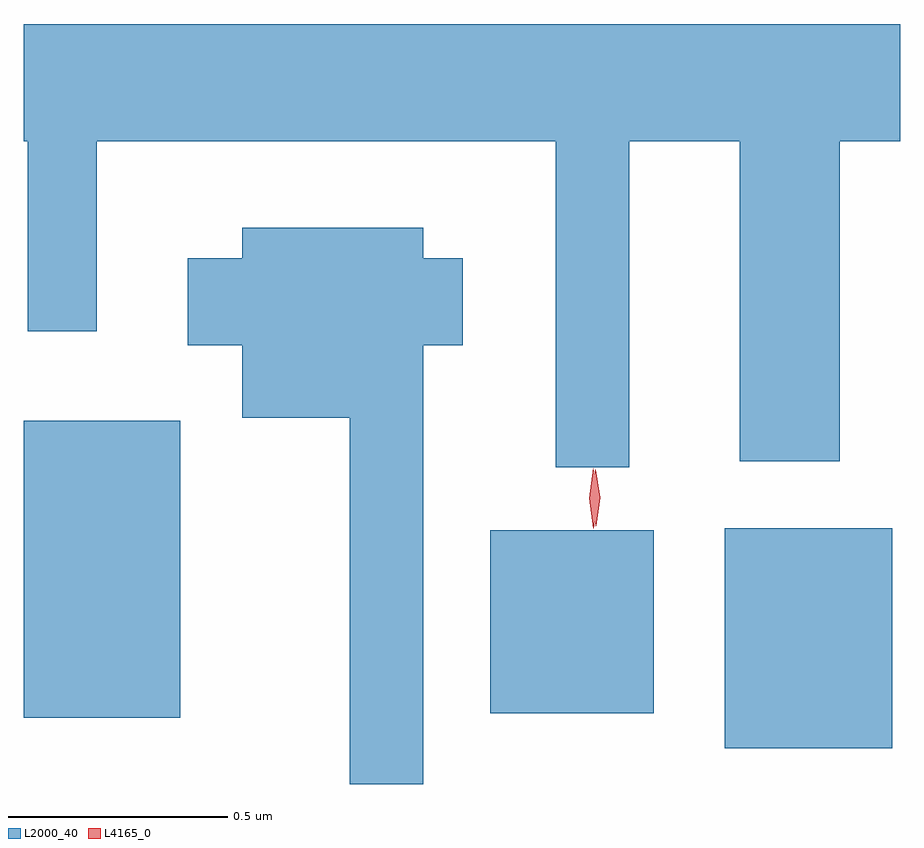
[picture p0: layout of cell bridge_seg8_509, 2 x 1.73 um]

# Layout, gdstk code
import gdstk
lib = gdstk.Library(unit=1e-6, precision=1e-09)
def R(c, l, rs):  # rectangles x0, y0, x1, y1
    for r in rs: c.add(gdstk.rectangle(r[:2], r[2:], *l))
def P(c, l, *ps):  # polygons
    for p in ps: c.add(gdstk.Polygon(p, *l))
L2000_40 = (2000, 40)
L4165_0 = (4165, 0)

bridge_seg8_509 = lib.new_cell('bridge_seg8_509')
R(bridge_seg8_509, L2000_40, [(358.846,1886.091,359.229,1886.594), (357.247,1886.161,357.604,1886.839), (358.311,1886.171,358.684,1886.589)])
P(bridge_seg8_509, L2000_40, [(358.629,1887.476),(358.881,1887.476),(358.881,1886.746),(359.109,1886.746),(359.109,1887.476),(359.247,1887.476),(359.247,1887.744),(357.247,1887.744),(357.247,1887.476),(357.256,1887.476),(357.256,1887.043),(357.414,1887.043),(357.414,1887.476),(358.461,1887.476),(358.461,1886.733),(358.629,1886.733)],
  [(358.159,1887.011),(358.249,1887.011),(358.249,1887.209),(358.159,1887.209),(358.159,1887.279),(357.746,1887.279),(357.746,1887.209),(357.621,1887.209),(357.621,1887.011),(357.746,1887.011),(357.746,1886.846),(357.991,1886.846),(357.991,1886.01),(358.159,1886.01)])
P(bridge_seg8_509, L4165_0, [(358.547,1886.594),(358.547,1886.594),(358.537,1886.662),(358.546,1886.73),(358.546,1886.73),(358.547,1886.73),(358.557,1886.662),(358.548,1886.594)],
  [(358.552,1886.598),(358.552,1886.599),(358.542,1886.663),(358.551,1886.727),(358.552,1886.727),(358.552,1886.727),(358.562,1886.663),(358.553,1886.599)])

lib.write_gds('bridge_seg8_509.gds')
